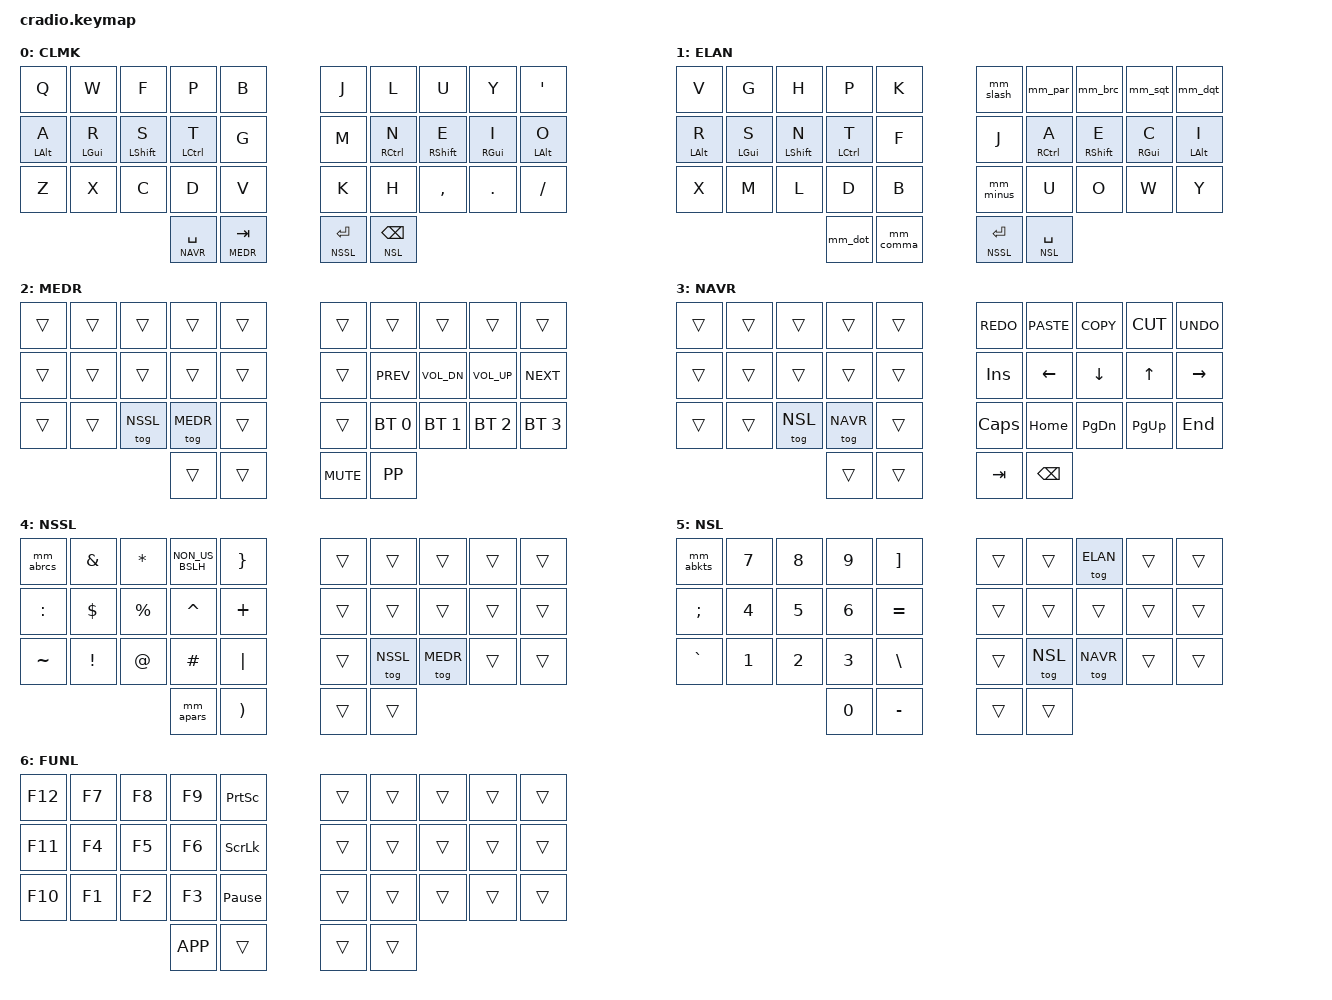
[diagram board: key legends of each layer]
// vim: filetype=dts:ts=4:sw=4:et

#include <behaviors.dtsi>
#include <dt-bindings/zmk/keys.h>
#include <dt-bindings/zmk/bt.h>

#define CLMK 0
#define ELAN 1
#define MEDR 2
#define NAVR 3
#define NSSL 4
#define NSL  5
#define FUNL 6

#define ZMK_COMBO(NAME, BINDING, KEYPOS, LAYERS) \
  combo_##NAME { \
    bindings = <BINDING>; \
    key-positions = <KEYPOS>; \
    layers = <LAYERS>; \
    timeout-ms = <50>; \
};

#define CLMK_A &hm LALT A
#define CLMK_R &hm LGUI R
#define CLMK_S &hm LSHFT S
#define CLMK_T &hm LCTRL T
#define CLMK_N &hm RCTRL N
#define CLMK_E &hm RSHFT E
#define CLMK_I &hm RGUI I
#define CLMK_O &hm LALT O

#define CLMK_SPC &lt NAVR SPACE
#define CLMK_TAB &lt MEDR TAB
#define CLMK_RET &lt NSSL RET
#define CLMK_BSPC &lt NSL BSPC

#define ELAN_R &hm LALT R
#define ELAN_S &hm LGUI S
#define ELAN_N &hm LSHFT N
#define ELAN_T &hm LCTRL T
#define ELAN_A &hm RCTRL A
#define ELAN_E &hm RSHFT E
#define ELAN_C &hm RGUI C
#define ELAN_I &hm LALT I

#define ELAN_DOT &mm_dot
#define ELAN_COM &mm_comma
#define ELAN_RET &lt NSSL RET
#define ELAN_SPC &lt NSL SPACE

&caps_word {
    // Defaults plus APOS keeps caps on for contractions
    continue-list = <UNDER APOS BSPC DEL>;
};

/ {
    #include "hd_combo_macros.dtsi"
    #include "linger.dtsi"
    #include "hd_morphs.dtsi"

    behaviour {
        hm: homerow_mods {
            compatible = "zmk,behavior-hold-tap";
            label = "HOMEROW_MODS";
            #binding-cells = <2>;
            tapping-term-ms = <175>;
            quick_tap_ms = <0>;
            flavor = "tap-preferred";
            bindings = <&kp>, <&kp>;
        };
    };

    keymap {
        compatible = "zmk,keymap";

        CLMK {
//    -------------------------------------------------------------------------
//  0 |  Q  |  W  |  F  |  P  |  B  |  4      5 |  J  |  L  |  U  |  Y  |  '  |  9
// 10 |  A  |  R  |  S  |  T  |  G  | 14     15 |  M  |  N  |  E  |  I  |  O  | 19
// 20 |  Z  |  X  |  C  |  D  |  V  | 24     25 |  K  |  H  |  ,  |  .  |  /  | 29
//                   30 |SPACE| TAB | 31     32 | RET | BSPC| 33
            bindings = <
&kp Q  &kp W  &kp F  &kp P  &kp B           &kp J  &kp L  &kp U     &kp Y   &kp APOS
CLMK_A CLMK_R CLMK_S CLMK_T &kp G           &kp M  CLMK_N CLMK_E    CLMK_I  CLMK_O
&kp Z  &kp X  &kp C  &kp D  &kp V           &kp K  &kp H  &kp COMMA &kp DOT &kp FSLH
                   CLMK_SPC CLMK_TAB     CLMK_RET CLMK_BSPC
            >;
        };

        ELAN {
            bindings = <
&kp V  &kp G  &kp H  &kp P  &kp K          &mm_slash &mm_par &mm_brc &mm_sqt &mm_dqt
ELAN_R ELAN_S ELAN_N ELAN_T &kp F          &kp J     ELAN_A  ELAN_E  ELAN_C  ELAN_I
&kp X  &kp M  &kp L  &kp D  &kp B          &mm_minus &kp U   &kp O   &kp W   &kp Y
                   ELAN_DOT ELAN_COM    ELAN_RET ELAN_SPC
            >;
        };

        MEDR {
            bindings = <
&trans &trans &trans    &trans    &trans       &trans     &trans     &trans       &trans       &trans
&trans &trans &trans    &trans    &trans       &trans     &kp K_PREV &kp K_VOL_DN &kp K_VOL_UP &kp K_NEXT
&trans &trans &tog NSSL &tog MEDR &trans       &trans     &bt BT_SEL 0 &bt BT_SEL 1 &bt BT_SEL 2 &bt BT_SEL 3
                        &trans    &trans       &kp K_MUTE &kp K_PP
            >;
        };

        NAVR {
            bindings = <
&trans &trans &trans   &trans    &trans       &kp K_REDO &kp K_PASTE &kp K_COPY &kp K_CUT &kp K_UNDO
&trans &trans &trans   &trans    &trans       &kp INS    &kp LEFT    &kp DOWN   &kp UP    &kp RIGHT
&trans &trans &tog NSL &tog NAVR &trans       &kp CAPS   &kp HOME    &kp PG_DN  &kp PG_UP &kp END
                       &trans    &trans       &kp TAB    &kp BSPC
            >;
        };

        NSSL {
            bindings = <
&mm_abrcs &kp AMPS &kp STAR  &kp NON_US_BSLH &kp RBRC       &trans &trans    &trans    &trans &trans
&kp COLON &kp DLLR &kp PRCNT &kp CARET       &kp PLUS       &trans &trans    &trans    &trans &trans
&kp TILDE &kp EXCL &kp AT    &kp HASH        &kp PIPE       &trans &tog NSSL &tog MEDR &trans &trans
                             &mm_apars       &kp RPAR       &trans &trans
            >;
        };

        NSL {
            bindings = <
&mm_abkts &kp N7 &kp N8 &kp N9 &kp RBKT        &trans &trans   &tog ELAN &trans &trans
&kp SEMI  &kp N4 &kp N5 &kp N6 &kp EQUAL       &trans &trans   &trans    &trans &trans
&kp GRAVE &kp N1 &kp N2 &kp N3 &kp BSLH        &trans &tog NSL &tog NAVR &trans &trans
                        &kp N0 &kp MINUS       &trans &trans
            >;
        };

        FUNL {
            bindings = <
&kp F12 &kp F7 &kp F8 &kp F9    &kp PSCRN             &trans &trans &trans &trans &trans
&kp F11 &kp F4 &kp F5 &kp F6    &kp SLCK              &trans &trans &trans &trans &trans
&kp F10 &kp F1 &kp F2 &kp F3    &kp PAUSE_BREAK       &trans &trans &trans &trans &trans
                      &kp K_APP &trans                &trans &trans
            >;
        };

    };

    combos {
        compatible = "zmk,combos";

        ZMK_COMBO(esc, &kp ESC, 30 31, CLMK ELAN)
        // ZMK_COMBO(minus, &kp MINUS, 30 31, NSL)
        ZMK_COMBO(under, &kp UNDER, 30 31, NSSL)

        ZMK_COMBO(caps, &caps_word, 12 17, CLMK ELAN)
        ZMK_COMBO(boot, &bootloader, 0 4 20 24, CLMK ELAN)

        // ZMK_COMBO(im, &m_im, 18 15, CLMK) // IM -> "I'm "
        // ZMK_COMBO(id, &m_id, 18 23, CLMK) // ID -> "I'd "
        // ZMK_COMBO(ill, &m_ill, 18 6, CLMK) // IL -> "I'll "
        // ZMK_COMBO(ive, &m_ive, 18 24, CLMK) // IV -> "I've "
        // ZMK_COMBO(wed, &m_wed, 1 23, CLMK) // WD -> "we'd "
        // ZMK_COMBO(well, &m_well, 1 6, CLMK) // WL -> "we'll "
        // ZMK_COMBO(weve, &m_weve, 1 24, CLMK) // WV -> "we've "
        // ZMK_COMBO(were, &m_were, 1 11, CLMK) // WR -> "we're "
        // ZMK_COMBO(youd, &m_youd, 8 23, CLMK) // YD -> "you'd "
        // ZMK_COMBO(youll, &m_youll, 8 6, CLMK) // YL -> "you'll "
        // ZMK_COMBO(youve, &m_youve, 8 24, CLMK) // YV -> "you've "
        // ZMK_COMBO(youre, &m_youre, 8 11, CLMK) // YR -> "you're "
        // ZMK_COMBO(they, &m_they, 13 8, CLMK) // TY -> "they "
        // ZMK_COMBO(their, &m_their, 13 18, CLMK) // TI -> "their "
        // ZMK_COMBO(theyd, &m_theyd, 13 23, CLMK) // TD -> "they'd "
        // ZMK_COMBO(theyll, &m_theyll, 13 6, CLMK) // TL -> "they'll "
        // ZMK_COMBO(theyve, &m_theyve, 13 24, CLMK) // TV -> "they've "
        // ZMK_COMBO(theyre, &m_theyre, 13 11, CLMK) // TR -> "they're "
        // ZMK_COMBO(there, &m_there, 13 17, CLMK) // TE -> "there "
        // ZMK_COMBO(where, &m_where, 1 17, CLMK) // WE -> "where "
        // ZMK_COMBO(here, &m_here, 26 17, CLMK) // HE -> "here "

        ZMK_COMBO(vg, &kp Z, 0 1, ELAN) // VG -> Z
        ZMK_COMBO(pk, &kp Q, 3 4, ELAN) // PK -> Q
        ZMK_COMBO(yu, &kp Q, 26 29, ELAN) // YU -> Q
        ZMK_COMBO(yw, &kp J, 28 29, ELAN) // YW -> J
    };
};
